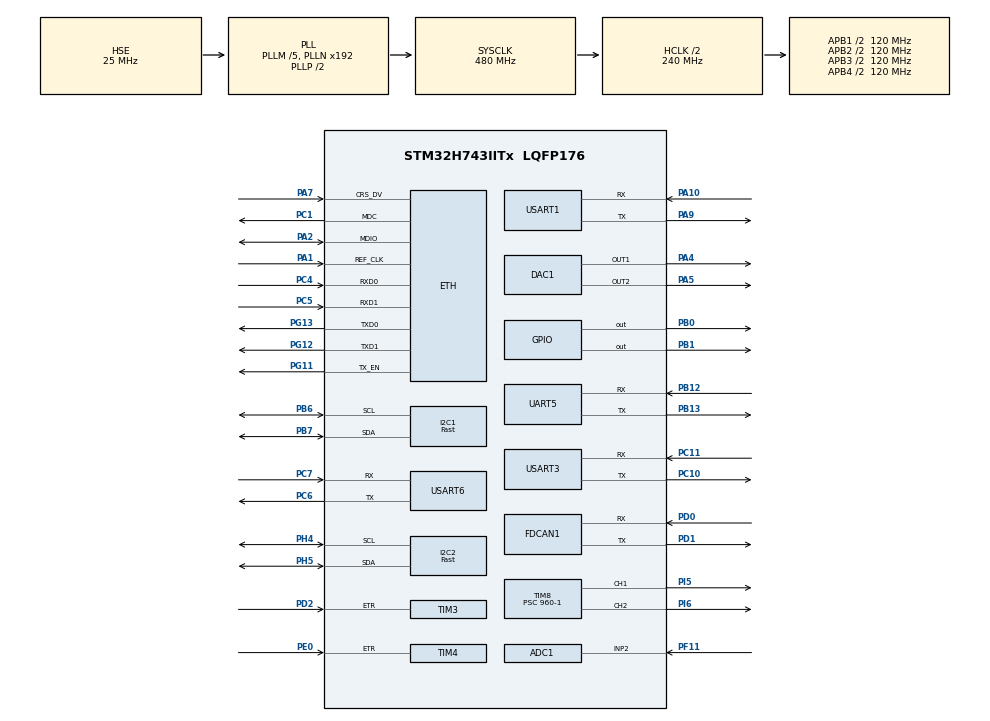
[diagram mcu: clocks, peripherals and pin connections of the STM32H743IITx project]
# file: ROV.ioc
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ADC1.Channel-0\#ChannelRegularConversion=ADC_CHANNEL_2
ADC1.ClockPrescaler=ADC_CLOCK_ASYNC_DIV4
ADC1.ContinuousConvMode=DISABLE
ADC1.ConversionDataManagement=ADC_CONVERSIONDATA_DR
ADC1.ExternalTrigConv=ADC_SOFTWARE_START
ADC1.NbrOfConversionFlag=1
ADC1.OffsetNumber-0\#ChannelRegularConversion=ADC_OFFSET_NONE
ADC1.Overrun=ADC_OVR_DATA_OVERWRITTEN
ADC1.Rank-0\#ChannelRegularConversion=1
ADC1.SamplingTime-0\#ChannelRegularConversion=ADC_SAMPLETIME_2CYCLES_5
ADC1.master=1
ADC3.Channel-0\#ChannelRegularConversion=ADC_CHANNEL_TEMPSENSOR
ADC3.ClockPrescaler=ADC_CLOCK_ASYNC_DIV4
ADC3.ConversionDataManagement=ADC_CONVERSIONDATA_DR
ADC3.ExternalTrigConv=ADC_SOFTWARE_START
ADC3.NbrOfConversionFlag=1
ADC3.OffsetNumber-0\#ChannelRegularConversion=ADC_OFFSET_NONE
ADC3.Overrun=ADC_OVR_DATA_OVERWRITTEN
ADC3.Rank-0\#ChannelRegularConversion=1
ADC3.SamplingTime-0\#ChannelRegularConversion=ADC_SAMPLETIME_64CYCLES_5
CORTEX_M7.AccessPermission-Cortex_Memory_Protection_Unit_Region0_Settings=MPU_REGION_FULL_ACCESS
CORTEX_M7.AccessPermission-Cortex_Memory_Protection_Unit_Region1_Settings=MPU_REGION_FULL_ACCESS
CORTEX_M7.BaseAddress-Cortex_Memory_Protection_Unit_Region0_Settings=0x30040000
CORTEX_M7.BaseAddress-Cortex_Memory_Protection_Unit_Region1_Settings=0x30044000
CORTEX_M7.CPU_DCache=Enabled
CORTEX_M7.CPU_ICache=Enabled
CORTEX_M7.Enable-Cortex_Memory_Protection_Unit_Region0_Settings=MPU_REGION_ENABLE
CORTEX_M7.Enable-Cortex_Memory_Protection_Unit_Region1_Settings=MPU_REGION_ENABLE
CORTEX_M7.IsBufferable-Cortex_Memory_Protection_Unit_Region0_Settings=MPU_ACCESS_BUFFERABLE
CORTEX_M7.IsCacheable-Cortex_Memory_Protection_Unit_Region0_Settings=MPU_ACCESS_NOT_CACHEABLE
CORTEX_M7.IsCacheable-Cortex_Memory_Protection_Unit_Region1_Settings=MPU_ACCESS_CACHEABLE
CORTEX_M7.IsShareable-Cortex_Memory_Protection_Unit_Region0_Settings=MPU_ACCESS_NOT_SHAREABLE
CORTEX_M7.MPU_Control=MPU_PRIVILEGED_DEFAULT
CORTEX_M7.Size-Cortex_Memory_Protection_Unit_Region0_Settings=MPU_REGION_SIZE_256B
CORTEX_M7.Size-Cortex_Memory_Protection_Unit_Region1_Settings=MPU_REGION_SIZE_16KB
DAC1.DAC_Channel-DAC_OUT2=DAC_CHANNEL_2
DAC1.DAC_OutputBuffer-DAC_OUT1=DAC_OUTPUTBUFFER_DISABLE
DAC1.DAC_OutputBuffer-DAC_OUT2=DAC_OUTPUTBUFFER_DISABLE
Dma.ADC1.1.Direction=DMA_PERIPH_TO_MEMORY
Dma.ADC1.1.EventEnable=DISABLE
Dma.ADC1.1.FIFOMode=DMA_FIFOMODE_DISABLE
Dma.ADC1.1.Instance=DMA1_Stream5
Dma.ADC1.1.MemDataAlignment=DMA_MDATAALIGN_HALFWORD
Dma.ADC1.1.MemInc=DMA_MINC_ENABLE
Dma.ADC1.1.Mode=DMA_NORMAL
Dma.ADC1.1.PeriphDataAlignment=DMA_PDATAALIGN_HALFWORD
Dma.ADC1.1.PeriphInc=DMA_PINC_DISABLE
Dma.ADC1.1.Polarity=HAL_DMAMUX_REQ_GEN_RISING
Dma.ADC1.1.Priority=DMA_PRIORITY_LOW
Dma.ADC1.1.RequestNumber=1
Dma.ADC1.1.SignalID=NONE
Dma.ADC1.1.SyncEnable=DISABLE
Dma.ADC1.1.SyncPolarity=HAL_DMAMUX_SYNC_NO_EVENT
Dma.ADC1.1.SyncRequestNumber=1
Dma.ADC1.1.SyncSignalID=NONE
Dma.DAC1_CH1.7.Direction=DMA_MEMORY_TO_PERIPH
Dma.DAC1_CH1.7.EventEnable=DISABLE
Dma.DAC1_CH1.7.FIFOMode=DMA_FIFOMODE_DISABLE
Dma.DAC1_CH1.7.Instance=DMA1_Stream2
Dma.DAC1_CH1.7.MemDataAlignment=DMA_MDATAALIGN_HALFWORD
Dma.DAC1_CH1.7.MemInc=DMA_MINC_ENABLE
Dma.DAC1_CH1.7.Mode=DMA_CIRCULAR
Dma.DAC1_CH1.7.PeriphDataAlignment=DMA_PDATAALIGN_HALFWORD
Dma.DAC1_CH1.7.PeriphInc=DMA_PINC_DISABLE
Dma.DAC1_CH1.7.Polarity=HAL_DMAMUX_REQ_GEN_RISING
Dma.DAC1_CH1.7.Priority=DMA_PRIORITY_LOW
Dma.DAC1_CH1.7.RequestNumber=1
Dma.DAC1_CH1.7.SignalID=NONE
Dma.DAC1_CH1.7.SyncEnable=DISABLE
Dma.DAC1_CH1.7.SyncPolarity=HAL_DMAMUX_SYNC_NO_EVENT
Dma.DAC1_CH1.7.SyncRequestNumber=1
Dma.DAC1_CH1.7.SyncSignalID=NONE
Dma.DAC1_CH2.8.Direction=DMA_MEMORY_TO_PERIPH
Dma.DAC1_CH2.8.EventEnable=DISABLE
Dma.DAC1_CH2.8.FIFOMode=DMA_FIFOMODE_DISABLE
Dma.DAC1_CH2.8.Instance=DMA2_Stream0
Dma.DAC1_CH2.8.MemDataAlignment=DMA_MDATAALIGN_HALFWORD
Dma.DAC1_CH2.8.MemInc=DMA_MINC_ENABLE
Dma.DAC1_CH2.8.Mode=DMA_CIRCULAR
Dma.DAC1_CH2.8.PeriphDataAlignment=DMA_PDATAALIGN_HALFWORD
Dma.DAC1_CH2.8.PeriphInc=DMA_PINC_DISABLE
Dma.DAC1_CH2.8.Polarity=HAL_DMAMUX_REQ_GEN_RISING
Dma.DAC1_CH2.8.Priority=DMA_PRIORITY_LOW
Dma.DAC1_CH2.8.RequestNumber=1
Dma.DAC1_CH2.8.SignalID=NONE
Dma.DAC1_CH2.8.SyncEnable=DISABLE
Dma.DAC1_CH2.8.SyncPolarity=HAL_DMAMUX_SYNC_NO_EVENT
Dma.DAC1_CH2.8.SyncRequestNumber=1
Dma.DAC1_CH2.8.SyncSignalID=NONE
Dma.I2C1_TX.0.Direction=DMA_MEMORY_TO_PERIPH
Dma.I2C1_TX.0.EventEnable=DISABLE
Dma.I2C1_TX.0.FIFOMode=DMA_FIFOMODE_DISABLE
Dma.I2C1_TX.0.Instance=DMA1_Stream7
Dma.I2C1_TX.0.MemDataAlignment=DMA_MDATAALIGN_BYTE
Dma.I2C1_TX.0.MemInc=DMA_MINC_ENABLE
Dma.I2C1_TX.0.Mode=DMA_NORMAL
Dma.I2C1_TX.0.PeriphDataAlignment=DMA_PDATAALIGN_BYTE
Dma.I2C1_TX.0.PeriphInc=DMA_PINC_DISABLE
Dma.I2C1_TX.0.Polarity=HAL_DMAMUX_REQ_GEN_RISING
Dma.I2C1_TX.0.Priority=DMA_PRIORITY_LOW
Dma.I2C1_TX.0.RequestNumber=1
Dma.I2C1_TX.0.SignalID=NONE
Dma.I2C1_TX.0.SyncEnable=DISABLE
Dma.I2C1_TX.0.SyncPolarity=HAL_DMAMUX_SYNC_NO_EVENT
Dma.I2C1_TX.0.SyncRequestNumber=1
Dma.I2C1_TX.0.SyncSignalID=NONE
Dma.Request0=I2C1_TX
Dma.Request1=ADC1
Dma.Request10=UART5_TX
Dma.Request2=USART1_TX
Dma.Request3=USART3_RX
Dma.Request4=USART3_TX
Dma.Request5=USART6_RX
Dma.Request6=USART6_TX
Dma.Request7=DAC1_CH1
Dma.Request8=DAC1_CH2
Dma.Request9=UART5_RX
Dma.UART5_RX.9.Direction=DMA_PERIPH_TO_MEMORY
Dma.UART5_RX.9.EventEnable=DISABLE
Dma.UART5_RX.9.FIFOMode=DMA_FIFOMODE_DISABLE
Dma.UART5_RX.9.Instance=DMA1_Stream3
Dma.UART5_RX.9.MemDataAlignment=DMA_MDATAALIGN_BYTE
Dma.UART5_RX.9.MemInc=DMA_MINC_ENABLE
Dma.UART5_RX.9.Mode=DMA_NORMAL
Dma.UART5_RX.9.PeriphDataAlignment=DMA_PDATAALIGN_BYTE
Dma.UART5_RX.9.PeriphInc=DMA_PINC_DISABLE
Dma.UART5_RX.9.Polarity=HAL_DMAMUX_REQ_GEN_RISING
Dma.UART5_RX.9.Priority=DMA_PRIORITY_LOW
Dma.UART5_RX.9.RequestNumber=1
Dma.UART5_RX.9.SignalID=NONE
Dma.UART5_RX.9.SyncEnable=DISABLE
Dma.UART5_RX.9.SyncPolarity=HAL_DMAMUX_SYNC_NO_EVENT
Dma.UART5_RX.9.SyncRequestNumber=1
Dma.UART5_RX.9.SyncSignalID=NONE
Dma.UART5_TX.10.Direction=DMA_MEMORY_TO_PERIPH
Dma.UART5_TX.10.EventEnable=DISABLE
Dma.UART5_TX.10.FIFOMode=DMA_FIFOMODE_DISABLE
Dma.UART5_TX.10.Instance=DMA1_Stream4
Dma.UART5_TX.10.MemDataAlignment=DMA_MDATAALIGN_BYTE
Dma.UART5_TX.10.MemInc=DMA_MINC_ENABLE
Dma.UART5_TX.10.Mode=DMA_NORMAL
Dma.UART5_TX.10.PeriphDataAlignment=DMA_PDATAALIGN_BYTE
Dma.UART5_TX.10.PeriphInc=DMA_PINC_DISABLE
Dma.UART5_TX.10.Polarity=HAL_DMAMUX_REQ_GEN_RISING
Dma.UART5_TX.10.Priority=DMA_PRIORITY_LOW
Dma.UART5_TX.10.RequestNumber=1
Dma.UART5_TX.10.SignalID=NONE
Dma.UART5_TX.10.SyncEnable=DISABLE
Dma.UART5_TX.10.SyncPolarity=HAL_DMAMUX_SYNC_NO_EVENT
Dma.UART5_TX.10.SyncRequestNumber=1
Dma.UART5_TX.10.SyncSignalID=NONE
Dma.USART1_TX.2.Direction=DMA_MEMORY_TO_PERIPH
Dma.USART1_TX.2.EventEnable=DISABLE
Dma.USART1_TX.2.FIFOMode=DMA_FIFOMODE_DISABLE
Dma.USART1_TX.2.Instance=DMA2_Stream7
Dma.USART1_TX.2.MemDataAlignment=DMA_MDATAALIGN_BYTE
Dma.USART1_TX.2.MemInc=DMA_MINC_ENABLE
Dma.USART1_TX.2.Mode=DMA_NORMAL
Dma.USART1_TX.2.PeriphDataAlignment=DMA_PDATAALIGN_BYTE
Dma.USART1_TX.2.PeriphInc=DMA_PINC_DISABLE
Dma.USART1_TX.2.Polarity=HAL_DMAMUX_REQ_GEN_RISING
Dma.USART1_TX.2.Priority=DMA_PRIORITY_LOW
Dma.USART1_TX.2.RequestNumber=1
Dma.USART1_TX.2.SignalID=NONE
Dma.USART1_TX.2.SyncEnable=DISABLE
Dma.USART1_TX.2.SyncPolarity=HAL_DMAMUX_SYNC_NO_EVENT
Dma.USART1_TX.2.SyncRequestNumber=1
Dma.USART1_TX.2.SyncSignalID=NONE
Dma.USART3_RX.3.Direction=DMA_PERIPH_TO_MEMORY
Dma.USART3_RX.3.EventEnable=DISABLE
Dma.USART3_RX.3.FIFOMode=DMA_FIFOMODE_DISABLE
Dma.USART3_RX.3.Instance=DMA1_Stream1
Dma.USART3_RX.3.MemDataAlignment=DMA_MDATAALIGN_BYTE
Dma.USART3_RX.3.MemInc=DMA_MINC_ENABLE
Dma.USART3_RX.3.Mode=DMA_NORMAL
Dma.USART3_RX.3.PeriphDataAlignment=DMA_PDATAALIGN_BYTE
Dma.USART3_RX.3.PeriphInc=DMA_PINC_DISABLE
Dma.USART3_RX.3.Polarity=HAL_DMAMUX_REQ_GEN_RISING
Dma.USART3_RX.3.Priority=DMA_PRIORITY_HIGH
Dma.USART3_RX.3.RequestNumber=1
Dma.USART3_RX.3.SignalID=NONE
Dma.USART3_RX.3.SyncEnable=DISABLE
Dma.USART3_RX.3.SyncPolarity=HAL_DMAMUX_SYNC_NO_EVENT
Dma.USART3_RX.3.SyncRequestNumber=1
Dma.USART3_RX.3.SyncSignalID=NONE
Dma.USART3_TX.4.Direction=DMA_MEMORY_TO_PERIPH
Dma.USART3_TX.4.EventEnable=DISABLE
Dma.USART3_TX.4.FIFOMode=DMA_FIFOMODE_DISABLE
Dma.USART3_TX.4.Instance=DMA1_Stream0
Dma.USART3_TX.4.MemDataAlignment=DMA_MDATAALIGN_BYTE
Dma.USART3_TX.4.MemInc=DMA_MINC_ENABLE
Dma.USART3_TX.4.Mode=DMA_NORMAL
Dma.USART3_TX.4.PeriphDataAlignment=DMA_PDATAALIGN_BYTE
Dma.USART3_TX.4.PeriphInc=DMA_PINC_DISABLE
Dma.USART3_TX.4.Polarity=HAL_DMAMUX_REQ_GEN_RISING
Dma.USART3_TX.4.Priority=DMA_PRIORITY_MEDIUM
Dma.USART3_TX.4.RequestNumber=1
Dma.USART3_TX.4.SignalID=NONE
Dma.USART3_TX.4.SyncEnable=DISABLE
Dma.USART3_TX.4.SyncPolarity=HAL_DMAMUX_SYNC_NO_EVENT
Dma.USART3_TX.4.SyncRequestNumber=1
Dma.USART3_TX.4.SyncSignalID=NONE
Dma.USART6_RX.5.Direction=DMA_PERIPH_TO_MEMORY
Dma.USART6_RX.5.EventEnable=DISABLE
Dma.USART6_RX.5.FIFOMode=DMA_FIFOMODE_DISABLE
Dma.USART6_RX.5.Instance=DMA2_Stream1
Dma.USART6_RX.5.MemDataAlignment=DMA_MDATAALIGN_BYTE
Dma.USART6_RX.5.MemInc=DMA_MINC_ENABLE
Dma.USART6_RX.5.Mode=DMA_NORMAL
Dma.USART6_RX.5.PeriphDataAlignment=DMA_PDATAALIGN_BYTE
Dma.USART6_RX.5.PeriphInc=DMA_PINC_DISABLE
Dma.USART6_RX.5.Polarity=HAL_DMAMUX_REQ_GEN_RISING
Dma.USART6_RX.5.Priority=DMA_PRIORITY_HIGH
Dma.USART6_RX.5.RequestNumber=1
Dma.USART6_RX.5.SignalID=NONE
Dma.USART6_RX.5.SyncEnable=DISABLE
Dma.USART6_RX.5.SyncPolarity=HAL_DMAMUX_SYNC_NO_EVENT
Dma.USART6_RX.5.SyncRequestNumber=1
Dma.USART6_RX.5.SyncSignalID=NONE
Dma.USART6_TX.6.Direction=DMA_MEMORY_TO_PERIPH
Dma.USART6_TX.6.EventEnable=DISABLE
Dma.USART6_TX.6.FIFOMode=DMA_FIFOMODE_DISABLE
Dma.USART6_TX.6.Instance=DMA2_Stream6
Dma.USART6_TX.6.MemDataAlignment=DMA_MDATAALIGN_BYTE
Dma.USART6_TX.6.MemInc=DMA_MINC_ENABLE
Dma.USART6_TX.6.Mode=DMA_NORMAL
Dma.USART6_TX.6.PeriphDataAlignment=DMA_PDATAALIGN_BYTE
Dma.USART6_TX.6.PeriphInc=DMA_PINC_DISABLE
Dma.USART6_TX.6.Polarity=HAL_DMAMUX_REQ_GEN_RISING
Dma.USART6_TX.6.Priority=DMA_PRIORITY_MEDIUM
Dma.USART6_TX.6.RequestNumber=1
Dma.USART6_TX.6.SignalID=NONE
Dma.USART6_TX.6.SyncEnable=DISABLE
Dma.USART6_TX.6.SyncPolarity=HAL_DMAMUX_SYNC_NO_EVENT
Dma.USART6_TX.6.SyncRequestNumber=1
Dma.USART6_TX.6.SyncSignalID=NONE
ETH.MediaInterface=HAL_ETH_RMII_MODE
ETH.RxBuffLen=1524
FDCAN1.NominalPrescaler=20
FDCAN1.NominalSyncJumpWidth=1
FDCAN1.NominalTimeSeg1=15
FDCAN1.NominalTimeSeg2=8
FDCAN1.RxFifo0ElmtsNbr=32
FDCAN1.TxFifoQueueElmtsNbr=32
FREERTOS.Tasks01=defaultTask,0,128,StartDefaultTask,Default,NULL
FREERTOS.configGENERATE_RUN_TIME_STATS=1
FREERTOS.configTOTAL_HEAP_SIZE=30720
FREERTOS.configUSE_STATS_FORMATTING_FUNCTIONS=1
FREERTOS.configUSE_TICKLESS_IDLE=1
FREERTOS.configUSE_TRACE_FACILITY=1
I2C1.I2C_Speed_Mode=I2C_Fast
I2C1.Timing=0x00B03FDB
I2C2.I2C_Speed_Mode=I2C_Fast
I2C2.Timing=0x00B03FDB
LWIP.BSP.number=1
LWIP.GATEWAY_ADDRESS=192.168.000.001
LWIP.IP_ADDRESS=192.168.000.025
LWIP.LWIP_DHCP=0
LWIP.LWIP_NETIF_LINK_CALLBACK=1
LWIP.LWIP_NETIF_STATUS_CALLBACK=1
LWIP.MEMP_MEM_MALLOC=0
LWIP.MEM_SIZE=3200
LWIP.NETMASK_ADDRESS=255.255.255.000
LWIP.Version=v2.0.3_Cube
LWIP0.BSP.STBoard=false
LWIP0.BSP.api=BSP_COMPONENT_DRIVER
LWIP0.BSP.component=LAN8742
LWIP0.BSP.i2caddr=0
LWIP0.BSP.instance=LAN8742
LWIP0.BSP.name=Driver_PHY
LWIP0.BSP.solution=LAN8742
Mcu.Family=STM32H7
Mcu.Name=STM32H743IITx
Mcu.Package=LQFP176
NVIC.DMA1_Stream0_IRQn=true\:5\:0\:true\:false\:true\:true\:false\:true
NVIC.DMA1_Stream1_IRQn=true\:5\:0\:true\:false\:true\:true\:false\:true
NVIC.DMA1_Stream2_IRQn=true\:5\:0\:true\:false\:true\:true\:false\:true
NVIC.DMA1_Stream3_IRQn=true\:5\:0\:false\:false\:true\:true\:false\:true
NVIC.DMA1_Stream4_IRQn=true\:5\:0\:false\:false\:true\:true\:false\:true
NVIC.DMA1_Stream5_IRQn=true\:5\:0\:false\:false\:true\:true\:false\:true
NVIC.DMA1_Stream7_IRQn=true\:5\:0\:false\:false\:true\:true\:false\:true
NVIC.DMA2_Stream0_IRQn=true\:5\:0\:false\:false\:true\:true\:false\:true
NVIC.DMA2_Stream1_IRQn=true\:5\:0\:false\:false\:true\:true\:false\:true
NVIC.DMA2_Stream6_IRQn=true\:5\:0\:false\:false\:true\:true\:false\:true
NVIC.DMA2_Stream7_IRQn=true\:5\:0\:false\:false\:true\:true\:false\:true
NVIC.ETH_IRQn=true\:5\:0\:false\:false\:true\:true\:true\:true
NVIC.FDCAN1_IT0_IRQn=true\:6\:0\:true\:false\:true\:true\:true\:true
NVIC.I2C1_EV_IRQn=true\:6\:0\:true\:false\:true\:true\:true\:true
NVIC.PriorityGroup=NVIC_PRIORITYGROUP_4
NVIC.TIM1_UP_IRQn=true\:0\:0\:false\:false\:true\:false\:false\:true
NVIC.TIM2_IRQn=true\:5\:0\:false\:false\:false\:true\:true\:true
NVIC.TIM5_IRQn=true\:5\:0\:true\:false\:false\:true\:true\:true
NVIC.TimeBase=TIM1_UP_IRQn
NVIC.TimeBaseIP=TIM1
NVIC.UART5_IRQn=true\:5\:0\:false\:false\:false\:true\:true\:true
NVIC.USART3_IRQn=true\:4\:0\:true\:false\:false\:false\:true\:true
NVIC.USART6_IRQn=true\:4\:0\:true\:false\:false\:false\:true\:true
PA1.GPIO_Mode=GPIO_MODE_AF_PP
PA1.GPIO_PuPd=GPIO_NOPULL
PA1.GPIO_Speed=GPIO_SPEED_FREQ_VERY_HIGH
PA1.Mode=RMII
PA1.Signal=ETH_REF_CLK
PA10.Mode=Asynchronous
PA10.Signal=USART1_RX
PA13\ (JTMS/SWDIO).Mode=Serial_Wire
PA13\ (JTMS/SWDIO).Signal=DEBUG_JTMS-SWDIO
PA14\ (JTCK/SWCLK).Mode=Serial_Wire
PA14\ (JTCK/SWCLK).Signal=DEBUG_JTCK-SWCLK
PA2.GPIO_Mode=GPIO_MODE_AF_PP
PA2.GPIO_PuPd=GPIO_NOPULL
PA2.GPIO_Speed=GPIO_SPEED_FREQ_VERY_HIGH
PA2.Mode=RMII
PA2.Signal=ETH_MDIO
PA4.Signal=COMP_DAC11_group
PA5.Signal=COMP_DAC12_group
PA7.GPIO_Mode=GPIO_MODE_AF_PP
PA7.GPIO_PuPd=GPIO_NOPULL
PA7.GPIO_Speed=GPIO_SPEED_FREQ_VERY_HIGH
PA7.Mode=RMII
PA7.Signal=ETH_CRS_DV
PA9.Mode=Asynchronous
PA9.Signal=USART1_TX
PB0.GPIO_PuPd=GPIO_PULLUP
PB0.Signal=GPIO_Output
PB1.GPIO_PuPd=GPIO_PULLUP
PB1.Signal=GPIO_Output
PB12.Mode=Asynchronous
PB12.Signal=UART5_RX
PB13.Mode=Asynchronous
PB13.Signal=UART5_TX
PB6.Mode=I2C
PB6.Signal=I2C1_SCL
PB7.Mode=I2C
PB7.Signal=I2C1_SDA
PC1.Mode=RMII
PC1.Signal=ETH_MDC
PC10.Mode=Asynchronous
PC10.Signal=USART3_TX
PC11.Mode=Asynchronous
PC11.Signal=USART3_RX
PC4.GPIO_Mode=GPIO_MODE_AF_PP
PC4.GPIO_PuPd=GPIO_NOPULL
PC4.GPIO_Speed=GPIO_SPEED_FREQ_VERY_HIGH
PC4.Mode=RMII
PC4.Signal=ETH_RXD0
PC5.GPIO_Mode=GPIO_MODE_AF_PP
PC5.GPIO_PuPd=GPIO_NOPULL
PC5.GPIO_Speed=GPIO_SPEED_FREQ_VERY_HIGH
PC5.Mode=RMII
PC5.Signal=ETH_RXD1
PC6.Mode=Asynchronous
PC6.Signal=USART6_TX
PC7.Mode=Asynchronous
PC7.Signal=USART6_RX
PD0.GPIO_PuPd=GPIO_PULLUP
PD0.GPIO_Speed=GPIO_SPEED_FREQ_VERY_HIGH
PD0.Mode=FDCANMaster
PD0.Signal=FDCAN1_RX
PD1.GPIO_PuPd=GPIO_PULLUP
PD1.GPIO_Speed=GPIO_SPEED_FREQ_VERY_HIGH
PD1.Mode=FDCANMaster
PD1.Signal=FDCAN1_TX
PD2.GPIO_Speed=GPIO_SPEED_FREQ_VERY_HIGH
PD2.Signal=S_TIM3_ETR
PE0.GPIO_Speed=GPIO_SPEED_FREQ_VERY_HIGH
PE0.Signal=S_TIM4_ETR
PF11.Mode=IN2-Single-Ended
PF11.Signal=ADC1_INP2
PF7.Signal=QUADSPI_BK1_IO2
PG11.GPIO_Mode=GPIO_MODE_AF_PP
PG11.GPIO_PuPd=GPIO_NOPULL
PG11.GPIO_Speed=GPIO_SPEED_FREQ_VERY_HIGH
PG11.Mode=RMII
PG11.Signal=ETH_TX_EN
PG12.GPIO_Mode=GPIO_MODE_AF_PP
PG12.GPIO_PuPd=GPIO_NOPULL
PG12.GPIO_Speed=GPIO_SPEED_FREQ_VERY_HIGH
PG12.Mode=RMII
PG12.Signal=ETH_TXD1
PG13.GPIO_Mode=GPIO_MODE_AF_PP
PG13.GPIO_PuPd=GPIO_NOPULL
PG13.GPIO_Speed=GPIO_SPEED_FREQ_VERY_HIGH
PG13.Mode=RMII
PG13.Signal=ETH_TXD0
PH0-OSC_IN\ (PH0).Mode=HSE-External-Oscillator
PH0-OSC_IN\ (PH0).Signal=RCC_OSC_IN
PH1-OSC_OUT\ (PH1).Mode=HSE-External-Oscillator
PH1-OSC_OUT\ (PH1).Signal=RCC_OSC_OUT
PH4.Mode=I2C
PH4.Signal=I2C2_SCL
PH5.Mode=I2C
PH5.Signal=I2C2_SDA
PI5.Signal=S_TIM8_CH1
PI6.Signal=S_TIM8_CH2
ProjectManager.HeapSize=0x200
ProjectManager.StackSize=0x2000
ProjectManager.TargetToolchain=MDK-ARM V5
RCC.ADCFreq_Value=72000000
RCC.APB1Freq_Value=120000000
RCC.APB2Freq_Value=120000000
RCC.APB3Freq_Value=120000000
RCC.APB4Freq_Value=120000000
RCC.CortexFreq_Value=480000000
RCC.D1PPRE=RCC_APB3_DIV2
RCC.D2PPRE1=RCC_APB1_DIV2
RCC.D2PPRE2=RCC_APB2_DIV2
RCC.D3PPRE=RCC_APB4_DIV2
RCC.DIVM1=5
RCC.DIVM2=25
RCC.DIVM3=5
RCC.DIVN1=192
RCC.DIVN2=504
RCC.DIVN3=192
RCC.DIVP2=7
RCC.DIVQ1=8
RCC.DIVQ2=7
RCC.DIVR3=32
RCC.HCLKFreq_Value=240000000
RCC.HPRE=RCC_HCLK_DIV2
RCC.PLL2FRACN=0
RCC.PLL3FRACN=0
RCC.PLLFRACN=0
RCC.PLLSourceVirtual=RCC_PLLSOURCE_HSE
RCC.SYSCLKFreq_VALUE=480000000
RCC.SYSCLKSource=RCC_SYSCLKSOURCE_PLLCLK
RCC.USBFreq_Value=120000000
SH.COMP_DAC11_group.0=DAC1_OUT1,DAC_OUT1
SH.COMP_DAC12_group.0=DAC1_OUT2,DAC_OUT2
SH.S_TIM3_ETR.0=TIM3_ETR,ClockSourceETR_Mode2
SH.S_TIM4_ETR.0=TIM4_ETR,ClockSourceETR_Mode2
SH.S_TIM8_CH1.0=TIM8_CH1,PWM Generation1 CH1
SH.S_TIM8_CH2.0=TIM8_CH2,PWM Generation2 CH2
TIM2.Period=5000-1
TIM2.Prescaler=240-1
TIM3.AutoReloadPreload=TIM_AUTORELOAD_PRELOAD_ENABLE
TIM3.Period=65535
TIM4.AutoReloadPreload=TIM_AUTORELOAD_PRELOAD_ENABLE
TIM4.Period=65535
TIM4.Prescaler=0
TIM5.Period=50
TIM5.Prescaler=240-1
TIM8.Channel-PWM\ Generation1\ CH1=TIM_CHANNEL_1
TIM8.Channel-PWM\ Generation2\ CH2=TIM_CHANNEL_2
TIM8.Period=1000-1
TIM8.Prescaler=960-1
TIM8.Pulse-PWM\ Generation1\ CH1=550
TIM8.Pulse-PWM\ Generation2\ CH2=250
UART5.SwapParam=UART_ADVFEATURE_SWAP_ENABLE
USART1.FIFOMode=FIFOMODE_ENABLE
USART1.VirtualMode-Asynchronous=VM_ASYNC
USART3.VirtualMode-Asynchronous=VM_ASYNC
USART6.VirtualMode-Asynchronous=VM_ASYNC
VP_ADC3_TempSens_Input.Mode=IN-TempSens
VP_ADC3_Vref_Input.Mode=IN-Vrefint
VP_CRC_VS_CRC.Mode=CRC_Activate
VP_FREERTOS_VS_CMSIS_V1.Mode=CMSIS_V1
VP_LWIP_VS_Enabled.Mode=Enabled
VP_SYS_VS_tim1.Mode=TIM1
VP_TIM2_VS_ClockSourceINT.Mode=Internal
VP_TIM5_VS_ClockSourceINT.Mode=Internal
VP_TIM8_VS_ClockSourceINT.Mode=Internal
board=custom

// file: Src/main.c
/* USER CODE BEGIN Header */
/**
  ******************************************************************************
  * @file           : main.c
  * @brief          : Main program body
  ******************************************************************************
  * @attention
  *
  * <h2><center>&copy; Copyright (c) 2022 STMicroelectronics.
  * All rights reserved.</center></h2>
  *
  * This software component is licensed by ST under BSD 3-Clause license,
  * the "License"; You may not use this file except in compliance with the
  * License. You may obtain a copy of the License at:
  *                        opensource.org/licenses/BSD-3-Clause
  *
  ******************************************************************************
  */
/* USER CODE END Header */

#include "main.h"
#include "cmsis_os.h"
#include "adc.h"
#include "crc.h"
#include "dac.h"
#include "dma.h"
#include "fdcan.h"
#include "i2c.h"
#include "lwip.h"
#include "tim.h"
#include "usart.h"
#include "gpio.h"

/* USER CODE BEGIN Includes */
#include "bsp_init.h"
#include "bsp_pulse.h"
/* USER CODE END Includes */

void SystemClock_Config(void);
static void MPU_Config(void);
void MX_FREERTOS_Init(void);

int main(void)
{
  /* USER CODE BEGIN 1 */
	//SCB->VTOR = FLASH_BASE | 0x20000;
	//__enable_irq();
  /* USER CODE END 1 */

  /* MPU Configuration--------------------------------------------------------*/
  MPU_Config();

  /* Enable I-Cache---------------------------------------------------------*/
  SCB_EnableICache();

  /* Enable D-Cache---------------------------------------------------------*/
  SCB_EnableDCache();

  /* MCU Configuration--------------------------------------------------------*/

  /* Reset of all peripherals, Initializes the Flash interface and the Systick. */
  HAL_Init();

  /* USER CODE BEGIN Init */
	//HAL_Delay(100);
  SCB->CACR|=1<<2;   //强制D-Cache透写,如不开启,实际使用中可能遇到各种问题

  /* USER CODE END Init */

  /* Configure the system clock */
  SystemClock_Config();

  /* Initialize all configured peripherals */
  MX_GPIO_Init();
  MX_DMA_Init();
  MX_ADC1_Init();
  MX_FDCAN1_Init();
  MX_I2C1_Init();
  MX_I2C2_Init();
  MX_ADC3_Init();
  MX_CRC_Init();
  MX_TIM4_Init();
  MX_USART1_UART_Init();
  MX_USART3_UART_Init();
  MX_USART6_UART_Init();
  MX_DAC1_Init();
  MX_TIM3_Init();
  MX_TIM8_Init();
  MX_TIM2_Init();
  MX_UART5_Init();
  MX_TIM5_Init();
  /* USER CODE BEGIN 2 */
	bsp_init();
	MX_LWIP_Init();
	printf("start\n");
  /* USER CODE END 2 */

  /* Call init function for freertos objects (in freertos.c) */
  MX_FREERTOS_Init();

  /* Start scheduler */
  osKernelStart();

  /* We should never get here as control is now taken by the scheduler */

  /* Infinite loop */
	while (1)
	{

	}
}

void SystemClock_Config(void)
{
  RCC_OscInitTypeDef RCC_OscInitStruct = {0};
  RCC_ClkInitTypeDef RCC_ClkInitStruct = {0};
  RCC_PeriphCLKInitTypeDef PeriphClkInitStruct = {0};

  /** Supply configuration update enable
  */
  HAL_PWREx_ConfigSupply(PWR_LDO_SUPPLY);
  /** Configure the main internal regulator output voltage
  */
  __HAL_PWR_VOLTAGESCALING_CONFIG(PWR_REGULATOR_VOLTAGE_SCALE0);

  while(!__HAL_PWR_GET_FLAG(PWR_FLAG_VOSRDY)) {}
  /** Macro to configure the PLL clock source
  */
  __HAL_RCC_PLL_PLLSOURCE_CONFIG(RCC_PLLSOURCE_HSE);
  /** Initializes the CPU, AHB and APB busses clocks
  */
  RCC_OscInitStruct.OscillatorType = RCC_OSCILLATORTYPE_HSE;
  RCC_OscInitStruct.HSEState = RCC_HSE_ON;
  RCC_OscInitStruct.PLL.PLLState = RCC_PLL_ON;
  RCC_OscInitStruct.PLL.PLLSource = RCC_PLLSOURCE_HSE;
  RCC_OscInitStruct.PLL.PLLM = 5;
  RCC_OscInitStruct.PLL.PLLN = 192;
  RCC_OscInitStruct.PLL.PLLP = 2;
  RCC_OscInitStruct.PLL.PLLQ = 8;
  RCC_OscInitStruct.PLL.PLLR = 2;
  RCC_OscInitStruct.PLL.PLLRGE = RCC_PLL1VCIRANGE_2;
  RCC_OscInitStruct.PLL.PLLVCOSEL = RCC_PLL1VCOWIDE;
  RCC_OscInitStruct.PLL.PLLFRACN = 0;
  if (HAL_RCC_OscConfig(&RCC_OscInitStruct) != HAL_OK)
  {
    Error_Handler();
  }
  /** Initializes the CPU, AHB and APB busses clocks
  */
  RCC_ClkInitStruct.ClockType = RCC_CLOCKTYPE_HCLK|RCC_CLOCKTYPE_SYSCLK
                              |RCC_CLOCKTYPE_PCLK1|RCC_CLOCKTYPE_PCLK2
                              |RCC_CLOCKTYPE_D3PCLK1|RCC_CLOCKTYPE_D1PCLK1;
  RCC_ClkInitStruct.SYSCLKSource = RCC_SYSCLKSOURCE_PLLCLK;
  RCC_ClkInitStruct.SYSCLKDivider = RCC_SYSCLK_DIV1;
  RCC_ClkInitStruct.AHBCLKDivider = RCC_HCLK_DIV2;
  RCC_ClkInitStruct.APB3CLKDivider = RCC_APB3_DIV2;
  RCC_ClkInitStruct.APB1CLKDivider = RCC_APB1_DIV2;
  RCC_ClkInitStruct.APB2CLKDivider = RCC_APB2_DIV2;
  RCC_ClkInitStruct.APB4CLKDivider = RCC_APB4_DIV2;

  if (HAL_RCC_ClockConfig(&RCC_ClkInitStruct, FLASH_LATENCY_4) != HAL_OK)
  {
    Error_Handler();
  }
  PeriphClkInitStruct.PeriphClockSelection = RCC_PERIPHCLK_USART3|RCC_PERIPHCLK_USART6
                              |RCC_PERIPHCLK_FDCAN|RCC_PERIPHCLK_USART1
                              |RCC_PERIPHCLK_UART5|RCC_PERIPHCLK_I2C2
                              |RCC_PERIPHCLK_ADC|RCC_PERIPHCLK_I2C1;
  PeriphClkInitStruct.PLL2.PLL2M = 25;
  PeriphClkInitStruct.PLL2.PLL2N = 504;
  PeriphClkInitStruct.PLL2.PLL2P = 7;
  PeriphClkInitStruct.PLL2.PLL2Q = 7;
  PeriphClkInitStruct.PLL2.PLL2R = 2;
  PeriphClkInitStruct.PLL2.PLL2RGE = RCC_PLL2VCIRANGE_0;
  PeriphClkInitStruct.PLL2.PLL2VCOSEL = RCC_PLL2VCOWIDE;
  PeriphClkInitStruct.PLL2.PLL2FRACN = 0;
  PeriphClkInitStruct.FdcanClockSelection = RCC_FDCANCLKSOURCE_PLL;
  PeriphClkInitStruct.Usart234578ClockSelection = RCC_USART234578CLKSOURCE_D2PCLK1;
  PeriphClkInitStruct.Usart16ClockSelection = RCC_USART16CLKSOURCE_D2PCLK2;
  PeriphClkInitStruct.I2c123ClockSelection = RCC_I2C123CLKSOURCE_D2PCLK1;
  PeriphClkInitStruct.AdcClockSelection = RCC_ADCCLKSOURCE_PLL2;
  if (HAL_RCCEx_PeriphCLKConfig(&PeriphClkInitStruct) != HAL_OK)
  {
    Error_Handler();
  }
}

/* MPU Configuration */

void MPU_Config(void)
{
  MPU_Region_InitTypeDef MPU_InitStruct = {0};

  /* Disables the MPU */
  HAL_MPU_Disable();
  /** Initializes and configures the Region and the memory to be protected
  */
  MPU_InitStruct.Enable = MPU_REGION_ENABLE;
  MPU_InitStruct.Number = MPU_REGION_NUMBER0;
  MPU_InitStruct.BaseAddress = 0x30040000;
  MPU_InitStruct.Size = MPU_REGION_SIZE_256B;
  MPU_InitStruct.SubRegionDisable = 0x0;
  MPU_InitStruct.TypeExtField = MPU_TEX_LEVEL0;
  MPU_InitStruct.AccessPermission = MPU_REGION_FULL_ACCESS;
  MPU_InitStruct.DisableExec = MPU_INSTRUCTION_ACCESS_ENABLE;
  MPU_InitStruct.IsShareable = MPU_ACCESS_NOT_SHAREABLE;
  MPU_InitStruct.IsCacheable = MPU_ACCESS_NOT_CACHEABLE;
  MPU_InitStruct.IsBufferable = MPU_ACCESS_BUFFERABLE;

  HAL_MPU_ConfigRegion(&MPU_InitStruct);
  /** Initializes and configures the Region and the memory to be protected
  */
  MPU_InitStruct.Enable = MPU_REGION_ENABLE;
  MPU_InitStruct.Number = MPU_REGION_NUMBER1;
  MPU_InitStruct.BaseAddress = 0x30044000;
  MPU_InitStruct.Size = MPU_REGION_SIZE_16KB;
  MPU_InitStruct.SubRegionDisable = 0x0;
  MPU_InitStruct.TypeExtField = MPU_TEX_LEVEL0;
  MPU_InitStruct.AccessPermission = MPU_REGION_FULL_ACCESS;
  MPU_InitStruct.DisableExec = MPU_INSTRUCTION_ACCESS_ENABLE;
  MPU_InitStruct.IsShareable = MPU_ACCESS_NOT_SHAREABLE;
  MPU_InitStruct.IsCacheable = MPU_ACCESS_CACHEABLE;
  MPU_InitStruct.IsBufferable = MPU_ACCESS_NOT_BUFFERABLE;

  HAL_MPU_ConfigRegion(&MPU_InitStruct);
  /* Enables the MPU */
  HAL_MPU_Enable(MPU_PRIVILEGED_DEFAULT);

}
void HAL_TIM_PeriodElapsedCallback(TIM_HandleTypeDef *htim)
{
  if (htim->Instance == TIM1) {
    HAL_IncTick();
  }
}

void Error_Handler(void)
{
}

/************************ (C) COPYRIGHT STMicroelectronics *****END OF FILE****/

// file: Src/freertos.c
/* USER CODE BEGIN Header */
/**
  ******************************************************************************
  * File Name          : freertos.c
  * Description        : Code for freertos applications
  ******************************************************************************
  * @attention
  *
  * <h2><center>&copy; Copyright (c) 2022 STMicroelectronics.
  * All rights reserved.</center></h2>
  *
  * This software component is licensed by ST under Ultimate Liberty license
  * SLA0044, the "License"; You may not use this file except in compliance with
  * the License. You may obtain a copy of the License at:
  *                             www.st.com/SLA0044
  *
  ******************************************************************************
  */
/* USER CODE END Header */

#include "FreeRTOS.h"
#include "task.h"
#include "main.h"
#include "cmsis_os.h"

/* USER CODE BEGIN Includes */
#include "socket_receive.h"
#include "water_level_task.h"
#include "tem_hum_task.h"
#include "socket_send.h"
#include "socket_receive.h"
#include "pwm_task.h"
#include "rov_movation_task.h"
#include "parse_task.h"
#include "detect_task.h"
#include "debug_info.h"
#include "task_time_count.h"
/* USER CODE END Includes */

/* USER CODE BEGIN PTD */
//osThreadId water_level_handle;
osThreadId tem_hum_handle;
osThreadId socket_send_handle;
osThreadId socket_receive_handle;
osThreadId pwm_task_handle;
osThreadId movation_task_handle;
osThreadId parse_task_handle;
osThreadId water_level_handle;
osThreadId debug_info_handle;
osThreadId task_time_count_handle;
/* USER CODE END PTD */

osThreadId defaultTaskHandle;

void StartDefaultTask(void const * argument);

void MX_FREERTOS_Init(void); /* (MISRA C 2004 rule 8.1) */

/* Pre/Post sleep processing prototypes */
void PreSleepProcessing(uint32_t *ulExpectedIdleTime);
void PostSleepProcessing(uint32_t *ulExpectedIdleTime);

/* Hook prototypes */
void configureTimerForRunTimeStats(void);
unsigned long getRunTimeCounterValue(void);

/* USER CODE BEGIN 1 */
/* Functions needed when configGENERATE_RUN_TIME_STATS is on */
__weak void configureTimerForRunTimeStats(void)
{

}

__weak unsigned long getRunTimeCounterValue(void)
{
return 0;
}
/* USER CODE END 1 */

/* USER CODE BEGIN PREPOSTSLEEP */
__weak void PreSleepProcessing(uint32_t *ulExpectedIdleTime)
{
/* place for user code */
	__HAL_RCC_GPIOA_CLK_DISABLE();
	__HAL_RCC_GPIOB_CLK_DISABLE();
	__HAL_RCC_GPIOC_CLK_DISABLE();
	__HAL_RCC_GPIOD_CLK_DISABLE();
	__HAL_RCC_GPIOE_CLK_DISABLE();
	__HAL_RCC_GPIOF_CLK_DISABLE();
	__HAL_RCC_GPIOG_CLK_DISABLE();
}

__weak void PostSleepProcessing(uint32_t *ulExpectedIdleTime)
{
/* place for user code */
	__HAL_RCC_GPIOA_CLK_ENABLE();
	__HAL_RCC_GPIOB_CLK_ENABLE();
	__HAL_RCC_GPIOC_CLK_ENABLE();
	__HAL_RCC_GPIOD_CLK_ENABLE();
	__HAL_RCC_GPIOE_CLK_ENABLE();
	__HAL_RCC_GPIOF_CLK_ENABLE();
	__HAL_RCC_GPIOG_CLK_ENABLE();
}
/* USER CODE END PREPOSTSLEEP */

void MX_FREERTOS_Init(void) {

  /* Create the thread(s) */
  /* definition and creation of defaultTask */
  osThreadDef(defaultTask, StartDefaultTask, osPriorityNormal, 0, 128);
  defaultTaskHandle = osThreadCreate(osThread(defaultTask), NULL);

  /* USER CODE BEGIN RTOS_THREADS */
  /* add threads, ... */
	osThreadDef(socket_receive, server_receive_task, osPriorityAboveNormal, 0, 512);
    socket_receive_handle = osThreadCreate(osThread(socket_receive), NULL);

	osThreadDef(socket_send, server_send_task, osPriorityAboveNormal, 0, 512);
    socket_send_handle = osThreadCreate(osThread(socket_send), NULL);

	osThreadDef(parse, parse_task, osPriorityNormal, 0, 128);
    parse_task_handle = osThreadCreate(osThread(parse), NULL);

	osThreadDef(pwm, pwm_task, osPriorityNormal, 0, 128);
    pwm_task_handle = osThreadCreate(osThread(pwm), NULL);

	osThreadDef(WATER_LEVEL, water_level_task, osPriorityNormal, 0, 128);
    water_level_handle = osThreadCreate(osThread(WATER_LEVEL), NULL);

	osThreadDef(TEM_HUM, tem_hum_task, osPriorityNormal, 0, 128);
    tem_hum_handle = osThreadCreate(osThread(TEM_HUM), NULL);

	osThreadDef(ROV_MOVATION, rov_movation_task, osPriorityAboveNormal, 0, 512);
    movation_task_handle = osThreadCreate(osThread(ROV_MOVATION), NULL);

    osThreadDef(debug_info, debug_info_task, osPriorityNormal, 0, 256);
    debug_info_handle = osThreadCreate(osThread(debug_info), NULL);

	osThreadDef(task_time_count, task_time_count_task, osPriorityAboveNormal, 0, 256);
    task_time_count_handle = osThreadCreate(osThread(task_time_count), NULL);

  /* USER CODE END RTOS_THREADS */

}

void StartDefaultTask(void const * argument)
{

  for(;;)
  {
    osDelay(1);
  }
}

/************************ (C) COPYRIGHT STMicroelectronics *****END OF FILE****/
